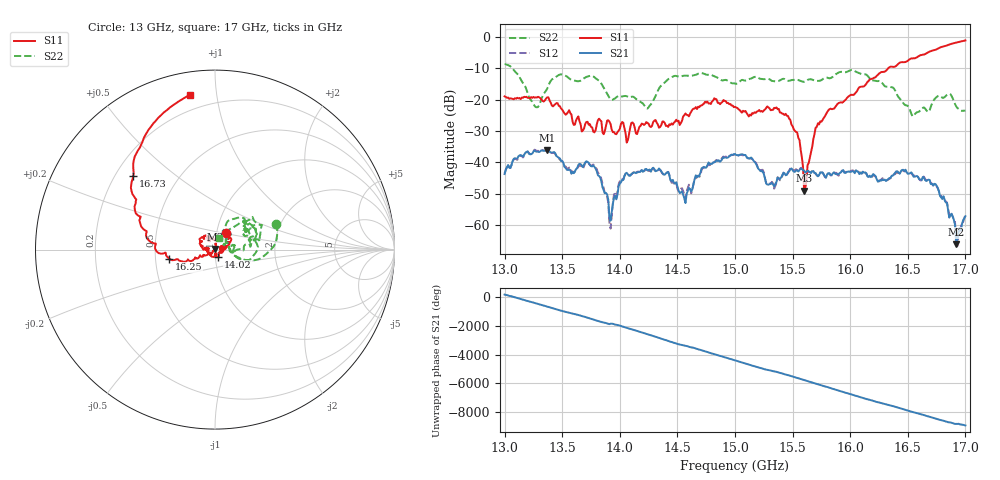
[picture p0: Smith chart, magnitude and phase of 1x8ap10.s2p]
!Keysight Technologies,P9374A,MY57211807,A.19.30.04
!Date: Friday, May 08, 2026 14:33:06
!Correction: S11(C  2-Port  )
!S21(C  2-Port  )
!S12(C  2-Port  )
!S22(C  2-Port  )
!S2P File: Measurements: S11, S21, S12, S22:
# Hz S  dB  R 50
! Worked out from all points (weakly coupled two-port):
!   401 points, 13 GHz to 17 GHz, reference 50 ohm
!   highest |S21| = -36.10 dB at 13.37 GHz (marker M1); lowest = -66.1 dB at 16.92 GHz (marker M2)
!   lowest |S11| = -49.0 dB at 15.6 GHz (marker M3), VSWR 1.01, Z = 50.1 + j0.322 ohm
!   |S11| at or under -10 dB: start of sweep to 16.33 GHz
!   |S22| runs from -25.3 to -8.7 dB; largest |S21 - S12| = 0.00081
!   S11 on the Smith chart (normalised r, x): 13 GHz: 1.11, +0.21; 14.02 GHz: 1.03, -0.08; 16.25 GHz: 0.59, -0.07; 16.73 GHz: 0.27, +0.36; 17 GHz: 0.12, +0.84
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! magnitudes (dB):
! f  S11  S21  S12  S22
! 13 GHz  -19.0  -43.7  -43.6  -8.7
! 13.27 GHz  -19.3  -36.5  -36.2  -22.4
! 13.37 GHz  -19.3  -36.1  -36.1  -16.5
! 13.67 GHz  -30.2  -41.0  -41.4  -13.8
! 13.8 GHz  -28.0  -42.8  -42.1  -13.5
! 13.92 GHz  -27.8  -58.6  -61.1  -19.9
! 14.02 GHz  -27.2  -45.6  -45.4  -19.0
! 14.34 GHz  -29.0  -42.0  -42.2  -16.5
! 14.57 GHz  -24.4  -53.0  -51.6  -12.4
! 15 GHz  -22.3  -37.4  -37.4  -14.9
! 15.29 GHz  -22.5  -47.1  -46.9  -13.4
! 15.46 GHz  -25.3  -43.1  -43.3  -14.0
! 15.55 GHz  -32.2  -42.9  -42.9  -13.8
! 15.6 GHz  -49.0  -42.6  -42.7  -14.4
! 15.67 GHz  -35.0  -42.9  -42.7  -13.6
! 15.81 GHz  -23.5  -43.5  -43.5  -13.2
! 16.25 GHz  -11.7  -46.0  -46.0  -14.1
! 16.34 GHz  -9.7  -45.0  -45.2  -15.9
! 16.55 GHz  -6.9  -44.5  -44.4  -25.3
! 16.73 GHz  -4.3  -46.8  -47.0  -20.0
! 16.92 GHz  -1.9  -66.1  -64.9  -22.2
! 17 GHz  -1.2  -57.1  -56.9  -23.5
